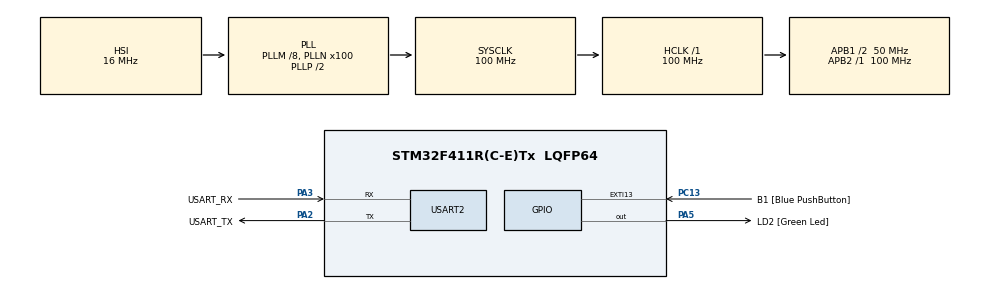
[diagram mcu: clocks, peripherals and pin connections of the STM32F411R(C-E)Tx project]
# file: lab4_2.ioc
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Mcu.Family=STM32F4
Mcu.Name=STM32F411R(C-E)Tx
Mcu.Package=LQFP64
NVIC.EXTI15_10_IRQn=true\:0\:0\:false\:false\:true\:true\:true
NVIC.PriorityGroup=NVIC_PRIORITYGROUP_0
NVIC.TIM3_IRQn=true\:0\:0\:false\:false\:true\:true\:true
NVIC.TIM4_IRQn=true\:0\:0\:false\:false\:true\:true\:true
NVIC.TIM5_IRQn=true\:0\:0\:false\:false\:true\:true\:true
PA13.GPIO_Label=TMS
PA13.Mode=Serial_Wire
PA13.Signal=SYS_JTMS-SWDIO
PA14.GPIO_Label=TCK
PA14.Mode=Serial_Wire
PA14.Signal=SYS_JTCK-SWCLK
PA2.GPIO_Label=USART_TX
PA2.Mode=Asynchronous
PA2.Signal=USART2_TX
PA3.GPIO_Label=USART_RX
PA3.Mode=Asynchronous
PA3.Signal=USART2_RX
PA5.GPIO_Label=LD2 [Green Led]
PA5.Signal=GPIO_Output
PB3.GPIO_Label=SWO
PB3.Signal=SYS_JTDO-SWO
PC13-ANTI_TAMP.GPIO_Label=B1 [Blue PushButton]
PC13-ANTI_TAMP.GPIO_ModeDefaultEXTI=GPIO_MODE_IT_FALLING
PC13-ANTI_TAMP.Signal=GPXTI13
PC14-OSC32_IN.Mode=LSE-External-Oscillator
PC14-OSC32_IN.Signal=RCC_OSC32_IN
PC15-OSC32_OUT.Mode=LSE-External-Oscillator
PC15-OSC32_OUT.Signal=RCC_OSC32_OUT
PH0\ -\ OSC_IN.Mode=HSE-External-Clock-Source
PH0\ -\ OSC_IN.Signal=RCC_OSC_IN
PH1\ -\ OSC_OUT.Mode=HSE-External-Clock-Source
PH1\ -\ OSC_OUT.Signal=RCC_OSC_OUT
ProjectManager.HeapSize=0x200
ProjectManager.StackSize=0x400
ProjectManager.TargetToolchain=STM32CubeIDE
RCC.48MHZClocksFreq_Value=50000000
RCC.AHBFreq_Value=100000000
RCC.APB1CLKDivider=RCC_HCLK_DIV2
RCC.APB1Freq_Value=50000000
RCC.APB1TimFreq_Value=100000000
RCC.APB2Freq_Value=100000000
RCC.APB2TimFreq_Value=100000000
RCC.CortexFreq_Value=100000000
RCC.FLatency-AdvancedSettings=FLASH_LATENCY_3
RCC.HCLKFreq_Value=100000000
RCC.HSE_VALUE=8000000
RCC.HSI_VALUE=16000000
RCC.PLLM=8
RCC.PLLN=100
RCC.SYSCLKFreq_VALUE=100000000
RCC.SYSCLKSource=RCC_SYSCLKSOURCE_PLLCLK
RCC.VCOOutputFreq_Value=200000000
TIM3.Period=5000
TIM3.Prescaler=10000-1
TIM4.Period=4905
TIM4.Prescaler=10000-1
TIM5.Period=9999
TIM5.Prescaler=10000-1
USART2.VirtualMode=VM_ASYNC
VP_TIM3_VS_ClockSourceINT.Mode=Internal
VP_TIM4_VS_ClockSourceINT.Mode=Internal
VP_TIM5_VS_ClockSourceINT.Mode=Internal
board=NUCLEO-F411RE

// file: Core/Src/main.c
/* USER CODE BEGIN Header */
/**
  ******************************************************************************
  * @file           : main.c
  * @brief          : Main program body
  ******************************************************************************
  * @attention
  *
  * <h2><center>&copy; Copyright (c) 2021 STMicroelectronics.
  * All rights reserved.</center></h2>
  *
  * This software component is licensed by ST under BSD 3-Clause license,
  * the "License"; You may not use this file except in compliance with the
  * License. You may obtain a copy of the License at:
  *                        opensource.org/licenses/BSD-3-Clause
  *
  ******************************************************************************
  */
/* USER CODE END Header */
#include "main.h"

TIM_HandleTypeDef htim3;
TIM_HandleTypeDef htim4;
TIM_HandleTypeDef htim5;

UART_HandleTypeDef huart2;

/* USER CODE BEGIN PV */
int blink1 = 0, blink2 = 0;
char buffer[64];
int skip = 3;
/* USER CODE END PV */

void SystemClock_Config(void);
static void MX_GPIO_Init(void);
static void MX_USART2_UART_Init(void);
static void MX_TIM3_Init(void);
static void MX_TIM4_Init(void);
static void MX_TIM5_Init(void);

int main(void)
{

  /* MCU Configuration--------------------------------------------------------*/

  /* Reset of all peripherals, Initializes the Flash interface and the Systick. */
  HAL_Init();

  /* Configure the system clock */
  SystemClock_Config();

  /* Initialize all configured peripherals */
  MX_GPIO_Init();
  MX_USART2_UART_Init();
  MX_TIM3_Init();
  MX_TIM4_Init();
  MX_TIM5_Init();
  /* USER CODE BEGIN 2 */
  HAL_TIM_Base_Start_IT(&htim5);
  HAL_TIM_Base_Start_IT(&htim3);
  HAL_TIM_Base_Start_IT(&htim4);
  /* USER CODE END 2 */

  /* Infinite loop */
  while (1)
  {

  }
}

void SystemClock_Config(void)
{
  RCC_OscInitTypeDef RCC_OscInitStruct = {0};
  RCC_ClkInitTypeDef RCC_ClkInitStruct = {0};

  /** Configure the main internal regulator output voltage
  */
  __HAL_RCC_PWR_CLK_ENABLE();
  __HAL_PWR_VOLTAGESCALING_CONFIG(PWR_REGULATOR_VOLTAGE_SCALE1);
  /** Initializes the RCC Oscillators according to the specified parameters
  * in the RCC_OscInitTypeDef structure.
  */
  RCC_OscInitStruct.OscillatorType = RCC_OSCILLATORTYPE_HSI;
  RCC_OscInitStruct.HSIState = RCC_HSI_ON;
  RCC_OscInitStruct.HSICalibrationValue = RCC_HSICALIBRATION_DEFAULT;
  RCC_OscInitStruct.PLL.PLLState = RCC_PLL_ON;
  RCC_OscInitStruct.PLL.PLLSource = RCC_PLLSOURCE_HSI;
  RCC_OscInitStruct.PLL.PLLM = 8;
  RCC_OscInitStruct.PLL.PLLN = 100;
  RCC_OscInitStruct.PLL.PLLP = RCC_PLLP_DIV2;
  RCC_OscInitStruct.PLL.PLLQ = 4;
  if (HAL_RCC_OscConfig(&RCC_OscInitStruct) != HAL_OK)
  {
    Error_Handler();
  }
  /** Initializes the CPU, AHB and APB buses clocks
  */
  RCC_ClkInitStruct.ClockType = RCC_CLOCKTYPE_HCLK|RCC_CLOCKTYPE_SYSCLK
                              |RCC_CLOCKTYPE_PCLK1|RCC_CLOCKTYPE_PCLK2;
  RCC_ClkInitStruct.SYSCLKSource = RCC_SYSCLKSOURCE_PLLCLK;
  RCC_ClkInitStruct.AHBCLKDivider = RCC_SYSCLK_DIV1;
  RCC_ClkInitStruct.APB1CLKDivider = RCC_HCLK_DIV2;
  RCC_ClkInitStruct.APB2CLKDivider = RCC_HCLK_DIV1;

  if (HAL_RCC_ClockConfig(&RCC_ClkInitStruct, FLASH_LATENCY_3) != HAL_OK)
  {
    Error_Handler();
  }
}

static void MX_TIM3_Init(void)
{

  TIM_ClockConfigTypeDef sClockSourceConfig = {0};
  TIM_MasterConfigTypeDef sMasterConfig = {0};

  htim3.Instance = TIM3;
  htim3.Init.Prescaler = 10000-1;
  htim3.Init.CounterMode = TIM_COUNTERMODE_UP;
  htim3.Init.Period = 5000;
  htim3.Init.ClockDivision = TIM_CLOCKDIVISION_DIV1;
  htim3.Init.AutoReloadPreload = TIM_AUTORELOAD_PRELOAD_DISABLE;
  if (HAL_TIM_Base_Init(&htim3) != HAL_OK)
  {
    Error_Handler();
  }
  sClockSourceConfig.ClockSource = TIM_CLOCKSOURCE_INTERNAL;
  if (HAL_TIM_ConfigClockSource(&htim3, &sClockSourceConfig) != HAL_OK)
  {
    Error_Handler();
  }
  sMasterConfig.MasterOutputTrigger = TIM_TRGO_RESET;
  sMasterConfig.MasterSlaveMode = TIM_MASTERSLAVEMODE_DISABLE;
  if (HAL_TIMEx_MasterConfigSynchronization(&htim3, &sMasterConfig) != HAL_OK)
  {
    Error_Handler();
  }

}

static void MX_TIM4_Init(void)
{

  TIM_ClockConfigTypeDef sClockSourceConfig = {0};
  TIM_MasterConfigTypeDef sMasterConfig = {0};

  htim4.Instance = TIM4;
  htim4.Init.Prescaler = 10000-1;
  htim4.Init.CounterMode = TIM_COUNTERMODE_UP;
  htim4.Init.Period = 4905;
  htim4.Init.ClockDivision = TIM_CLOCKDIVISION_DIV1;
  htim4.Init.AutoReloadPreload = TIM_AUTORELOAD_PRELOAD_DISABLE;
  if (HAL_TIM_Base_Init(&htim4) != HAL_OK)
  {
    Error_Handler();
  }
  sClockSourceConfig.ClockSource = TIM_CLOCKSOURCE_INTERNAL;
  if (HAL_TIM_ConfigClockSource(&htim4, &sClockSourceConfig) != HAL_OK)
  {
    Error_Handler();
  }
  sMasterConfig.MasterOutputTrigger = TIM_TRGO_RESET;
  sMasterConfig.MasterSlaveMode = TIM_MASTERSLAVEMODE_DISABLE;
  if (HAL_TIMEx_MasterConfigSynchronization(&htim4, &sMasterConfig) != HAL_OK)
  {
    Error_Handler();
  }

}

static void MX_TIM5_Init(void)
{

  TIM_ClockConfigTypeDef sClockSourceConfig = {0};
  TIM_MasterConfigTypeDef sMasterConfig = {0};

  htim5.Instance = TIM5;
  htim5.Init.Prescaler = 10000-1;
  htim5.Init.CounterMode = TIM_COUNTERMODE_UP;
  htim5.Init.Period = 9999;
  htim5.Init.ClockDivision = TIM_CLOCKDIVISION_DIV1;
  htim5.Init.AutoReloadPreload = TIM_AUTORELOAD_PRELOAD_DISABLE;
  if (HAL_TIM_Base_Init(&htim5) != HAL_OK)
  {
    Error_Handler();
  }
  sClockSourceConfig.ClockSource = TIM_CLOCKSOURCE_INTERNAL;
  if (HAL_TIM_ConfigClockSource(&htim5, &sClockSourceConfig) != HAL_OK)
  {
    Error_Handler();
  }
  sMasterConfig.MasterOutputTrigger = TIM_TRGO_RESET;
  sMasterConfig.MasterSlaveMode = TIM_MASTERSLAVEMODE_DISABLE;
  if (HAL_TIMEx_MasterConfigSynchronization(&htim5, &sMasterConfig) != HAL_OK)
  {
    Error_Handler();
  }

}

static void MX_USART2_UART_Init(void)
{

  huart2.Instance = USART2;
  huart2.Init.BaudRate = 115200;
  huart2.Init.WordLength = UART_WORDLENGTH_8B;
  huart2.Init.StopBits = UART_STOPBITS_1;
  huart2.Init.Parity = UART_PARITY_NONE;
  huart2.Init.Mode = UART_MODE_TX_RX;
  huart2.Init.HwFlowCtl = UART_HWCONTROL_NONE;
  huart2.Init.OverSampling = UART_OVERSAMPLING_16;
  if (HAL_UART_Init(&huart2) != HAL_OK)
  {
    Error_Handler();
  }

}

static void MX_GPIO_Init(void)
{
  GPIO_InitTypeDef GPIO_InitStruct = {0};

  /* GPIO Ports Clock Enable */
  __HAL_RCC_GPIOC_CLK_ENABLE();
  __HAL_RCC_GPIOH_CLK_ENABLE();
  __HAL_RCC_GPIOA_CLK_ENABLE();
  __HAL_RCC_GPIOB_CLK_ENABLE();

  /*Configure GPIO pin Output Level */
  HAL_GPIO_WritePin(LD2_GPIO_Port, LD2_Pin, GPIO_PIN_RESET);

  /*Configure GPIO pin : B1_Pin */
  GPIO_InitStruct.Pin = B1_Pin;
  GPIO_InitStruct.Mode = GPIO_MODE_IT_FALLING;
  GPIO_InitStruct.Pull = GPIO_NOPULL;
  HAL_GPIO_Init(B1_GPIO_Port, &GPIO_InitStruct);

  /*Configure GPIO pin : LD2_Pin */
  GPIO_InitStruct.Pin = LD2_Pin;
  GPIO_InitStruct.Mode = GPIO_MODE_OUTPUT_PP;
  GPIO_InitStruct.Pull = GPIO_NOPULL;
  GPIO_InitStruct.Speed = GPIO_SPEED_FREQ_LOW;
  HAL_GPIO_Init(LD2_GPIO_Port, &GPIO_InitStruct);

  /* EXTI interrupt init*/
  HAL_NVIC_SetPriority(EXTI15_10_IRQn, 0, 0);
  HAL_NVIC_EnableIRQ(EXTI15_10_IRQn);

}

/* USER CODE BEGIN 4 */

void HAL_TIM_PeriodElapsedCallback(TIM_HandleTypeDef *htim) {
	if(skip == 0) {
		if (htim == &htim3) blink1++;
		else if (htim == &htim4) {
			blink2++;
			HAL_GPIO_TogglePin(GPIOA, GPIO_PIN_5);
		}
		else if (htim == &htim5) {
			sprintf(buffer, "red led = %d, green led = %d\r\n", blink1, blink2);
			HAL_UART_Transmit(&huart2, &buffer, strlen(buffer), 1000);
		}
	}
	else skip--;
}
/* USER CODE END 4 */

void Error_Handler(void)
{
  __disable_irq();
  while (1)
  {
  }
}

/************************ (C) COPYRIGHT STMicroelectronics *****END OF FILE****/
